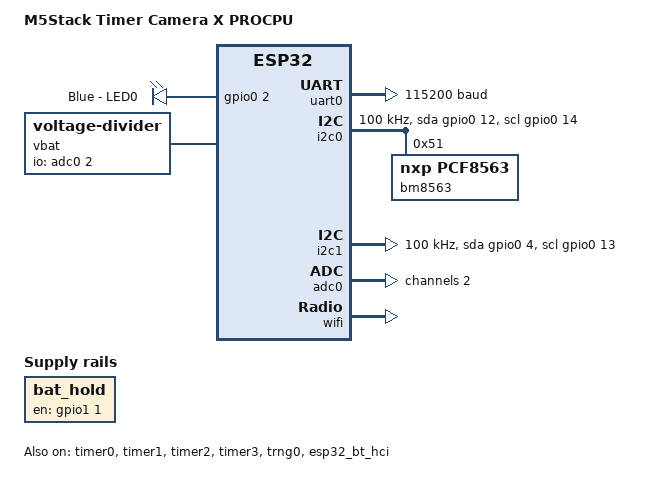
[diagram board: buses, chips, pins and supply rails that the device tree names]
/*
 * Copyright The Zephyr Project Contributors
 *
 * SPDX-License-Identifier: Apache-2.0
 */
/dts-v1/;

#include <espressif/esp32/esp32.dtsi>
#include "m5stack_timer_camera_x-pinctrl.dtsi"
#include "grove_connectors.dtsi"
#include <espressif/partitions_0x1000_amp.dtsi>

/ {
	model = "M5Stack Timer Camera X PROCPU";
	compatible = "m5stack,timer-camera-x";

	aliases {
		led0 = &blue_led;
		uart-0 = &uart0;
		i2c-0 = &i2c0;
		watchdog0 = &wdt0;
		rtc = &bm8563;
	};

	chosen {
		zephyr,sram = &sram1;
		zephyr,console = &uart0;
		zephyr,shell-uart = &uart0;
		zephyr,flash = &flash0;
		zephyr,code-partition = &slot0_partition;
		zephyr,rtc = &bm8563;
		zephyr,bt-hci = &esp32_bt_hci;
	};

	leds {
		compatible = "gpio-leds";

		blue_led: led_0 {
			gpios = <&gpio0 2 GPIO_ACTIVE_HIGH>;
			label = "Blue - LED0";
		};
	};

	/*
	 * The battery reaches the system through a switch that the power
	 * button or the RTC interrupt close and that this pin keeps closed.
	 * Disabling the regulator on battery power turns the board off.
	 */
	bat_hold: bat_hold {
		compatible = "regulator-fixed";
		regulator-name = "bat_hold";
		enable-gpios = <&gpio1 1 GPIO_ACTIVE_HIGH>;
		regulator-boot-on;
	};

	vbat: vbat {
		compatible = "voltage-divider";
		io-channels = <&adc0 2>;
		output-ohms = <2670>;
		full-ohms = <(1370 + 2670)>;
		skip-calibration;
	};
};

&flash0 {
	reg = <0x0 DT_SIZE_M(4)>;
	ranges = <0x0 0x0 DT_SIZE_M(4)>;
};

&psram0 {
	size = <DT_SIZE_M(8)>;
};

&gpio0 {
	gpio-reserved-ranges = <6 6>, <16 2>, <20 1>, <24 1>, <28 4>;
	status = "okay";
};

&gpio1 {
	status = "okay";
};

&uart0 {
	status = "okay";
	current-speed = <115200>;
	pinctrl-0 = <&uart0_default>;
	pinctrl-names = "default";
};

/* RTC BM8563 */
&i2c0 {
	status = "okay";
	clock-frequency = <I2C_BITRATE_STANDARD>;
	sda-gpios = <&gpio0 12 GPIO_OPEN_DRAIN>;
	scl-gpios = <&gpio0 14 GPIO_OPEN_DRAIN>;
	pinctrl-0 = <&i2c0_default>;
	pinctrl-names = "default";

	bm8563: rtc@51 {
		compatible = "nxp,pcf8563";
		reg = <0x51>;
		status = "okay";
	};
};

/* Grove port */
&i2c1 {
	status = "okay";
	clock-frequency = <I2C_BITRATE_STANDARD>;
	sda-gpios = <&gpio0 4 GPIO_OPEN_DRAIN>;
	scl-gpios = <&gpio0 13 GPIO_OPEN_DRAIN>;
	pinctrl-0 = <&i2c1_default>;
	pinctrl-names = "default";
};

&adc0 {
	status = "okay";
	#address-cells = <1>;
	#size-cells = <0>;

	/* Battery voltage, GPIO38 */
	channel@2 {
		reg = <2>;
		zephyr,gain = "ADC_GAIN_1_4";
		zephyr,reference = "ADC_REF_INTERNAL";
		zephyr,acquisition-time = <ADC_ACQ_TIME_DEFAULT>;
		zephyr,resolution = <12>;
	};
};

&timer0 {
	status = "okay";
};

&timer1 {
	status = "okay";
};

&timer2 {
	status = "okay";
};

&timer3 {
	status = "okay";
};

&trng0 {
	status = "okay";
};

&esp32_bt_hci {
	status = "okay";
};

&wifi {
	status = "okay";
};
